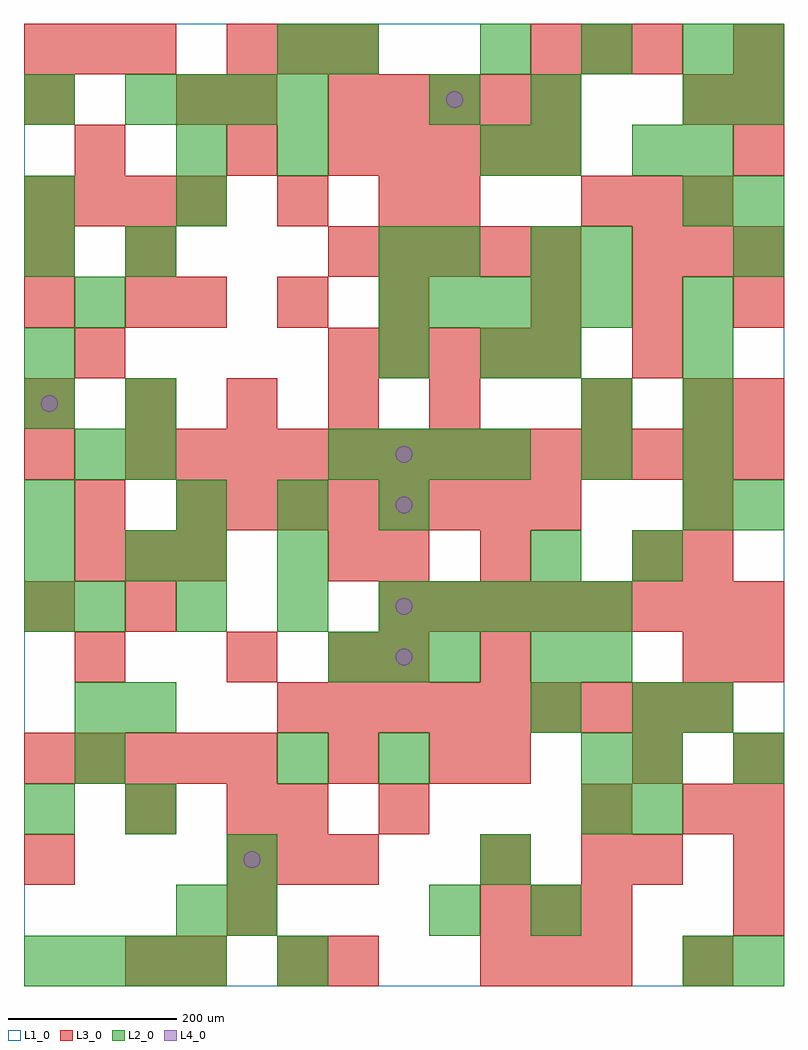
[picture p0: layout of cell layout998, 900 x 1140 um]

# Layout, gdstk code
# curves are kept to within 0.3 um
import gdstk
lib = gdstk.Library(unit=1e-6, precision=1e-09)
def R(c, l, rs):  # rectangles x0, y0, x1, y1
    for r in rs: c.add(gdstk.rectangle(r[:2], r[2:], *l))
def A(c, l, x, y, w, h, nx, ny, dx, dy):  # array of equal rectangles
    R(c, l, [(x+i*dx, y+j*dy, x+i*dx+w, y+j*dy+h) for i in range(nx) for j in range(ny)])
def P(c, l, *ps):  # polygons
    for p in ps: c.add(gdstk.Polygon(p, *l))
L1_0 = (1, 0)
L2_0 = (2, 0)
L3_0 = (3, 0)
L4_0 = (4, 0)

layout998 = lib.new_cell('layout998')
R(layout998, L1_0, [(0,0,900,1140)])
A(layout998, L2_0, 0, 0, 60, 60, 4, 1, 60, 0)
A(layout998, L2_0, 300, 0, 60, 60, 1, 3, 0, 240)
A(layout998, L2_0, 180, 60, 60, 60, 1, 3, 0, 420)
A(layout998, L2_0, 720, 180, 60, 60, 1, 3, 0, 60)
A(layout998, L2_0, 840, 240, 60, 60, 1, 3, 0, 300)
A(layout998, L2_0, 360, 360, 60, 60, 3, 1, 60, 0)
A(layout998, L2_0, 0, 420, 60, 60, 1, 3, 0, 60)
A(layout998, L2_0, 60, 420, 60, 60, 4, 1, 120, 0)
A(layout998, L2_0, 480, 420, 60, 60, 4, 1, 60, 0)
A(layout998, L2_0, 180, 540, 60, 60, 3, 1, 120, 0)
A(layout998, L2_0, 780, 540, 60, 60, 1, 5, 0, 60)
A(layout998, L2_0, 360, 600, 60, 60, 4, 1, 60, 0)
A(layout998, L2_0, 600, 720, 60, 60, 1, 3, 0, 120)
A(layout998, L2_0, 420, 780, 60, 60, 5, 1, 60, 0)
A(layout998, L2_0, 780, 900, 60, 60, 1, 3, 0, 60)
A(layout998, L2_0, 120, 1020, 60, 60, 4, 1, 60, 0)
A(layout998, L2_0, 540, 1080, 60, 60, 3, 1, 120, 0)
R(layout998, L2_0, [(780,0,840,60), (840,0,900,60), (240,60,300,120), (480,60,540,120), (600,60,660,120), (240,120,300,180), (540,120,600,180), (0,180,60,240), (120,180,180,240), (660,180,720,240), (60,240,120,300), (420,240,480,300), (660,240,720,300), (60,300,120,360), (120,300,180,360), (600,300,660,360), (780,300,840,360), (600,360,660,420), (660,360,720,420), (120,480,180,540), (600,480,660,540), (720,480,780,540), (60,600,120,660), (120,600,180,660), (660,600,720,660), (0,660,60,720), (120,660,180,720), (660,660,720,720), (0,720,60,780), (420,720,480,780), (540,720,600,780), (60,780,120,840), (0,840,60,900), (120,840,180,900), (420,840,480,900), (480,840,540,900), (660,840,720,900), (0,900,60,960), (840,900,900,960), (180,960,240,1020), (300,960,360,1020), (540,960,600,1020), (720,960,780,1020), (0,1020,60,1080), (480,1020,540,1080), (600,1020,660,1080), (840,1020,900,1080), (300,1080,360,1140), (360,1080,420,1140), (840,1080,900,1140)])
A(layout998, L3_0, 540, 0, 60, 60, 3, 2, 60, 60)
A(layout998, L3_0, 780, 0, 60, 60, 1, 3, 0, 180)
A(layout998, L3_0, 840, 60, 60, 60, 1, 4, 0, 60)
A(layout998, L3_0, 240, 120, 60, 60, 3, 2, 60, 960)
A(layout998, L3_0, 540, 120, 60, 60, 1, 4, 0, 120)
A(layout998, L3_0, 0, 240, 60, 60, 5, 1, 60, 0)
A(layout998, L3_0, 360, 240, 60, 60, 1, 3, 0, 120)
A(layout998, L3_0, 720, 240, 60, 60, 1, 3, 0, 240)
A(layout998, L3_0, 300, 300, 60, 60, 9, 1, 60, 0)
A(layout998, L3_0, 60, 360, 60, 60, 1, 3, 0, 180)
A(layout998, L3_0, 840, 360, 60, 60, 1, 3, 0, 300)
A(layout998, L3_0, 0, 420, 60, 60, 1, 3, 0, 180)
A(layout998, L3_0, 420, 420, 60, 60, 8, 1, 60, 0)
A(layout998, L3_0, 60, 480, 60, 60, 3, 1, 60, 0)
A(layout998, L3_0, 180, 540, 60, 60, 8, 1, 60, 0)
A(layout998, L3_0, 120, 600, 60, 60, 13, 1, 60, 0)
A(layout998, L3_0, 0, 660, 60, 60, 5, 1, 120, 0)
A(layout998, L3_0, 360, 720, 60, 60, 5, 3, 60, 120)
A(layout998, L3_0, 180, 780, 60, 60, 3, 1, 120, 0)
A(layout998, L3_0, 600, 780, 60, 60, 3, 1, 120, 0)
A(layout998, L3_0, 720, 840, 60, 60, 3, 1, 60, 0)
A(layout998, L3_0, 0, 900, 60, 60, 4, 1, 60, 0)
A(layout998, L3_0, 660, 900, 60, 60, 3, 1, 60, 0)
A(layout998, L3_0, 360, 1020, 60, 60, 5, 1, 60, 0)
A(layout998, L3_0, 0, 1080, 60, 60, 3, 1, 60, 0)
A(layout998, L3_0, 600, 1080, 60, 60, 3, 1, 60, 0)
R(layout998, L3_0, [(120,0,180,60), (180,0,240,60), (300,0,360,60), (360,0,420,60), (240,60,300,120), (0,120,60,180), (660,120,720,180), (720,120,780,180), (120,180,180,240), (240,180,300,240), (300,180,360,240), (420,180,480,240), (660,180,720,240), (480,240,540,300), (240,360,300,420), (420,360,480,420), (120,420,180,480), (420,480,480,540), (780,480,840,540), (780,540,840,600), (660,660,720,720), (780,660,840,720), (120,780,180,840), (0,840,60,900), (120,840,180,900), (300,900,360,960), (420,900,480,960), (480,900,540,960), (60,960,120,1020), (240,960,300,1020), (0,1020,60,1080), (180,1020,240,1080), (240,1020,300,1080), (780,1020,840,1080), (840,1020,900,1080), (840,1080,900,1140)])
P(layout998, L4_0, [(40,690),(39.239,693.827),(37.071,697.071),(33.827,699.239),(30,700),(26.173,699.239),(22.929,697.071),(20.761,693.827),(20,690),(20.761,686.173),(22.929,682.929),(26.173,680.761),(30,680),(33.827,680.761),(37.071,682.929),(39.239,686.173)],
  [(280,150),(279.239,153.827),(277.071,157.071),(273.827,159.239),(270,160),(266.173,159.239),(262.929,157.071),(260.761,153.827),(260,150),(260.761,146.173),(262.929,142.929),(266.173,140.761),(270,140),(273.827,140.761),(277.071,142.929),(279.239,146.173)],
  [(460,390),(459.239,393.827),(457.071,397.071),(453.827,399.239),(450,400),(446.173,399.239),(442.929,397.071),(440.761,393.827),(440,390),(440.761,386.173),(442.929,382.929),(446.173,380.761),(450,380),(453.827,380.761),(457.071,382.929),(459.239,386.173)],
  [(460,450),(459.239,453.827),(457.071,457.071),(453.827,459.239),(450,460),(446.173,459.239),(442.929,457.071),(440.761,453.827),(440,450),(440.761,446.173),(442.929,442.929),(446.173,440.761),(450,440),(453.827,440.761),(457.071,442.929),(459.239,446.173)],
  [(460,570),(459.239,573.827),(457.071,577.071),(453.827,579.239),(450,580),(446.173,579.239),(442.929,577.071),(440.761,573.827),(440,570),(440.761,566.173),(442.929,562.929),(446.173,560.761),(450,560),(453.827,560.761),(457.071,562.929),(459.239,566.173)],
  [(460,630),(459.239,633.827),(457.071,637.071),(453.827,639.239),(450,640),(446.173,639.239),(442.929,637.071),(440.761,633.827),(440,630),(440.761,626.173),(442.929,622.929),(446.173,620.761),(450,620),(453.827,620.761),(457.071,622.929),(459.239,626.173)],
  [(520,1050),(519.239,1053.827),(517.071,1057.071),(513.827,1059.239),(510,1060),(506.173,1059.239),(502.929,1057.071),(500.761,1053.827),(500,1050),(500.761,1046.173),(502.929,1042.929),(506.173,1040.761),(510,1040),(513.827,1040.761),(517.071,1042.929),(519.239,1046.173)])

lib.write_gds('layout998.gds')
